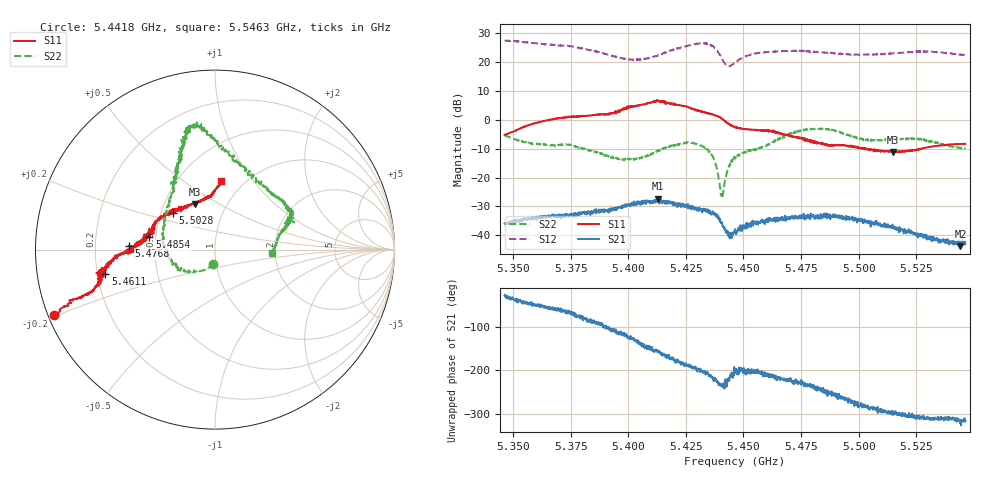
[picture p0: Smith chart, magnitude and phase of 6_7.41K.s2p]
# Hz  S  DB  R  50
! ADVANTEST Corporation R3860A
! Date: Wed Apr 11 19:53:17 2007
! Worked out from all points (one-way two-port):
!   1601 points, 5.3463 GHz to 5.5463 GHz, reference 50 ohm
!   highest |S21| = -27.29 dB at 5.4127 GHz (marker M1); lowest = -43.8 dB at 5.5442 GHz (marker M2)
!   lowest |S11| = -11.2 dB at 5.5147 GHz (marker M3), VSWR 1.76, Z = 35.5 + j19.4 ohm
!   |S11| at or under -10 dB: 5.502277 GHz to 5.502463 GHz (186.2 kHz wide, 0.00338 % of centre); 5.50302 GHz to 5.503437 GHz (417.6 kHz wide, 0.00759 % of centre); 5.503736 GHz to 5.527022 GHz (23.29 MHz wide, 0.422 % of centre) (the widest 3 of 4)
!   |S22| runs from -27.0 to -2.9 dB; largest |S21 - S12| = 24
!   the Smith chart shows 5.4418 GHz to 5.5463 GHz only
!   S11 on the Smith chart (normalised r, x): 5.4418 GHz: 0.02, -0.19; 5.4611 GHz: 0.23, -0.10; 5.4768 GHz: 0.35, +0.02; 5.4854 GHz: 0.46, +0.07; 5.5028 GHz: 0.58, +0.26; 5.5463 GHz: 0.79, +0.71
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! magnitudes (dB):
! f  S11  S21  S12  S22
! 5.3463 GHz  -5.1  -35.8  27.4  -5.3
! 5.3623 GHz  -0.6  -33.6  26.4  -8.4
! 5.3797 GHz  1.3  -32.3  24.7  -9.8
! 5.3981 GHz  4.1  -29.5  21.2  -13.9
! 5.4127 GHz  6.7  -27.3  22.3  -10.8
! 5.4131 GHz  6.6  -28.2  22.5  -10.5
! 5.4254 GHz  4.6  -30.0  25.7  -7.8
! 5.4318 GHz  2.7  -31.2  26.5  -9.0
! 5.4371 GHz  1.8  -32.4  25.4  -13.4
! 5.4404 GHz  0.5  -35.8  21.5  -26.3
! 5.4418 GHz  -0.3  -38.1  19.7  -21.9
! 5.4438 GHz  -1.5  -39.7  18.6  -16.2
! 5.4463 GHz  -2.3  -37.9  19.9  -13.2
! 5.4611 GHz  -4.1  -34.9  23.6  -8.4
! 5.4768 GHz  -6.4  -33.2  23.7  -3.4
! 5.4797 GHz  -7.5  -33.3  23.8  -3.1
! 5.4854 GHz  -8.6  -33.4  23.3  -3.1
! 5.5028 GHz  -10.2  -35.0  22.7  -6.6
! 5.5131 GHz  -11.0  -36.7  23.0  -6.6
! 5.5147 GHz  -11.2  -36.3  23.1  -6.6
! 5.5442 GHz  -8.3  -43.8  22.6  -9.8
! 5.5463 GHz  -8.3  -43.1  22.5  -9.9
